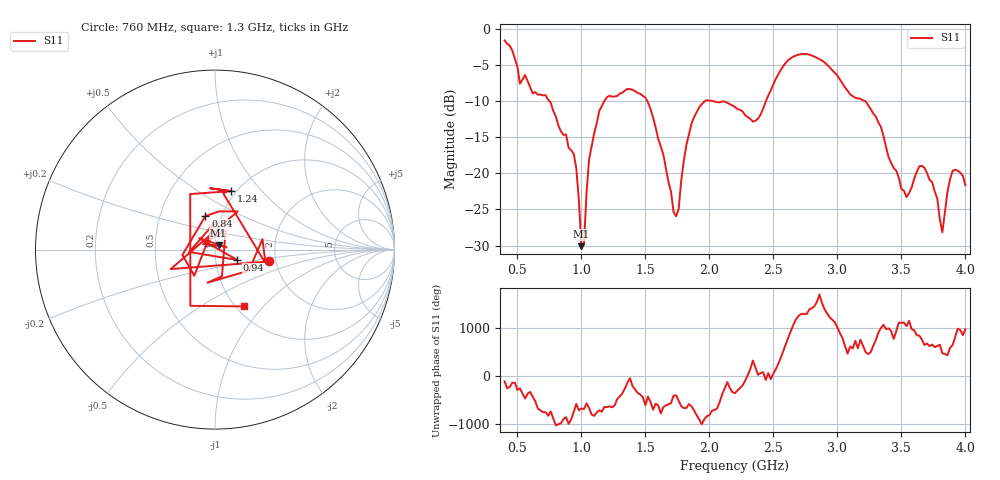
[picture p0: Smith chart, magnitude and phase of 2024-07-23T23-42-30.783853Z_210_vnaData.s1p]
!Created with skrf (http://scikit-rf.org).
# Hz S RI R 50.0
!freq ReS11 ImS11
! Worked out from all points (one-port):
!   181 points, 400 MHz to 4 GHz, reference 50 ohm
!   lowest |S11| = -30.1 dB at 1 GHz (marker M1), VSWR 1.06, Z = 52 + j2.53 ohm
!   |S11| at or under -10 dB: 749.2 MHz to 1.18 GHz (430.4 MHz wide, 44.6 % of centre); 1.513 GHz to 1.97 GHz (457 MHz wide, 26.2 % of centre); 3.212 GHz to end of sweep (the widest 3 of 4)
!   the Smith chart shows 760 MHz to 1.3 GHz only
!   S11 on the Smith chart (normalised r, x): 760 MHz: 1.84, -0.27; 840 MHz: 0.84, +0.33; 940 MHz: 1.27, -0.15; 1.24 GHz: 0.95, +0.70; 1.3 GHz: 1.09, -0.79
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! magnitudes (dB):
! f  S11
! 400 MHz  -1.6
! 520 MHz  -7.6
! 760 MHz  -10.2
! 840 MHz  -14.2
! 860 MHz  -14.7
! 940 MHz  -17.3
! 960 MHz  -19.3
! 1 GHz  -30.1
! 1.02 GHz  -29.8
! 1.06 GHz  -18.1
! 1.1 GHz  -14.5
! 1.24 GHz  -9.4
! 1.3 GHz  -9.0
! 1.52 GHz  -10.2
! 1.72 GHz  -25.4
! 1.76 GHz  -24.9
! 1.82 GHz  -16.1
! 1.92 GHz  -10.9
! 2.2 GHz  -10.8
! 2.38 GHz  -12.5
! 2.66 GHz  -3.8
! 3.1 GHz  -9.1
! 3.3 GHz  -12.2
! 3.56 GHz  -22.7
! 3.68 GHz  -19.2
! 3.82 GHz  -28.2
! 3.9 GHz  -19.7
! 4 GHz  -21.7
